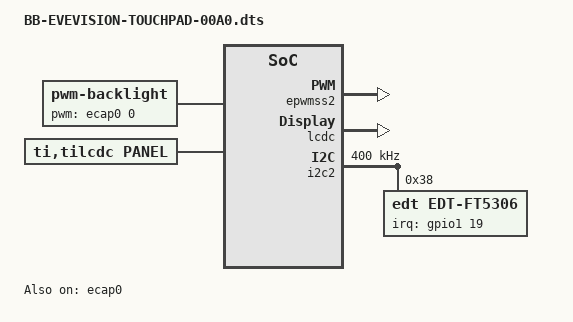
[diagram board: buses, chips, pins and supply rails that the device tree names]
/*
 * Copyright (C) 2012 Texas Instruments Incorporated - http://www.ti.com/
 *
 * This program is free software; you can redistribute it and/or modify
 * it under the terms of the GNU General Public License version 2 as
 * published by the Free Software Foundation.
 */

/dts-v1/;
/plugin/;

#include <dt-bindings/gpio/gpio.h>
#include <dt-bindings/pinctrl/am33xx.h>
#include <dt-bindings/board/am335x-bbw-bbb-base.h>

/ {
	/*
	 * Free up the pins used by the cape from the pinmux helpers.
	 */
	fragment@0 {
		target = <&ocp>;
		__overlay__ {
			P8_45_pinmux { status = "disabled"; };	/* lcd: lcd_data0 */
			P8_46_pinmux { status = "disabled"; };	/* lcd: lcd_data1 */
			P8_43_pinmux { status = "disabled"; };	/* lcd: lcd_data2 */
			P8_44_pinmux { status = "disabled"; };	/* lcd: lcd_data3 */
			P8_41_pinmux { status = "disabled"; };	/* lcd: lcd_data4 */
			P8_42_pinmux { status = "disabled"; };	/* lcd: lcd_data5 */
			P8_39_pinmux { status = "disabled"; };	/* lcd: lcd_data6 */
			P8_40_pinmux { status = "disabled"; };	/* lcd: lcd_data7 */
			P8_37_pinmux { status = "disabled"; };	/* lcd: lcd_data8 */
			P8_38_pinmux { status = "disabled"; };	/* lcd: lcd_data9 */
			P8_36_pinmux { status = "disabled"; };	/* lcd: lcd_data10 */
			P8_34_pinmux { status = "disabled"; };	/* lcd: lcd_data11 */
			P8_35_pinmux { status = "disabled"; };	/* lcd: lcd_data12 */
			P8_33_pinmux { status = "disabled"; };	/* lcd: lcd_data13 */
			P8_31_pinmux { status = "disabled"; };	/* lcd: lcd_data14 */
			P8_32_pinmux { status = "disabled"; };	/* lcd: lcd_data15 */
			P8_15_pinmux { status = "disabled"; };	/* lcd: lcd_data16 */
			P8_16_pinmux { status = "disabled"; };	/* lcd: lcd_data17 */
			P8_11_pinmux { status = "disabled"; };	/* lcd: lcd_data18 */
			P8_12_pinmux { status = "disabled"; };	/* lcd: lcd_data19 */
			P8_17_pinmux { status = "disabled"; };	/* lcd: lcd_data20 */
			P8_14_pinmux { status = "disabled"; };	/* lcd: lcd_data21 */
			P8_13_pinmux { status = "disabled"; };	/* lcd: lcd_data22 */
			P8_19_pinmux { status = "disabled"; };	/* lcd: lcd_data23 */
			P8_27_pinmux { status = "disabled"; };	/* lcd: lcd_vsync */
			P8_29_pinmux { status = "disabled"; };	/* lcd: lcd_hsync */
			P8_28_pinmux { status = "disabled"; };	/* lcd: lcd_pclk */
			P8_30_pinmux { status = "disabled"; };	/* lcd: lcd_ac_bias_en */

			P9_27_pinmux { status = "disabled"; };	/* lcd: lcd_disp */

			P9_42_pinmux { status = "disabled"; };	/* pwm: eCAP0_in_PWM2_out */

			P9_15_pinmux { status = "disabled"; };	/* touch reset: gpio1_16 */
			P9_16_pinmux { status = "disabled"; };	/* touch interrupt: gpio1_19 */
		};
	};

	fragment@1 {
		target = <&am33xx_pinmux>;
		__overlay__ {

			bb_lcd_pwm_backlight_pins: pinmux_bb_lcd_pwm_backlight_pins {
				pinctrl-single,pins = <
					BONE_P9_42 (PIN_OUTPUT_PULLUP | MUX_MODE0) /* mcasp0_ahclkr.eCAP2_in_PWM2_out */
				>;
			};

			bb_lcd_lcd_pins: pinmux_bb_lcd_lcd_pins {
				pinctrl-single,pins = <
					BONE_P8_45 (PIN_OUTPUT | MUX_MODE0) /* lcd: lcd_data0.lcd_data0 */
					BONE_P8_46 (PIN_OUTPUT | MUX_MODE0) /* lcd: lcd_data1.lcd_data1 */
					BONE_P8_43 (PIN_OUTPUT | MUX_MODE0) /* lcd: lcd_data2.lcd_data2 */
					BONE_P8_44 (PIN_OUTPUT | MUX_MODE0) /* lcd: lcd_data3.lcd_data3 */
					BONE_P8_41 (PIN_OUTPUT | MUX_MODE0) /* lcd: lcd_data4.lcd_data4 */
					BONE_P8_42 (PIN_OUTPUT | MUX_MODE0) /* lcd: lcd_data5.lcd_data5 */
					BONE_P8_39 (PIN_OUTPUT | MUX_MODE0) /* lcd: lcd_data6.lcd_data6 */
					BONE_P8_40 (PIN_OUTPUT | MUX_MODE0) /* lcd: lcd_data7.lcd_data7 */
					BONE_P8_37 (PIN_OUTPUT | MUX_MODE0) /* lcd: lcd_data8.lcd_data8 */
					BONE_P8_38 (PIN_OUTPUT | MUX_MODE0) /* lcd: lcd_data9.lcd_data9 */
					BONE_P8_36 (PIN_OUTPUT | MUX_MODE0) /* lcd: lcd_data10.lcd_data10 */
					BONE_P8_34 (PIN_OUTPUT | MUX_MODE0) /* lcd: lcd_data11.lcd_data11 */
					BONE_P8_35 (PIN_OUTPUT | MUX_MODE0) /* lcd: lcd_data12.lcd_data12 */
					BONE_P8_33 (PIN_OUTPUT | MUX_MODE0) /* lcd: lcd_data13.lcd_data13 */
					BONE_P8_31 (PIN_OUTPUT | MUX_MODE0) /* lcd: lcd_data14.lcd_data14 */
					BONE_P8_32 (PIN_OUTPUT | MUX_MODE0) /* lcd: lcd_data15.lcd_data15 */
					BONE_P8_15 (PIN_OUTPUT | MUX_MODE1) /* lcd: lcd_data16.lcd_data16 */
					BONE_P8_16 (PIN_OUTPUT | MUX_MODE1) /* lcd: lcd_data17.lcd_data17 */
					BONE_P8_11 (PIN_OUTPUT | MUX_MODE1) /* lcd: lcd_data18.lcd_data18 */
					BONE_P8_12 (PIN_OUTPUT | MUX_MODE1) /* lcd: lcd_data19.lcd_data19 */
					BONE_P8_17 (PIN_OUTPUT | MUX_MODE1) /* lcd: lcd_data20.lcd_data20 */
					BONE_P8_14 (PIN_OUTPUT | MUX_MODE1) /* lcd: lcd_data21.lcd_data21 */
					BONE_P8_13 (PIN_OUTPUT | MUX_MODE1) /* lcd: lcd_data22.lcd_data22 */
					BONE_P8_19 (PIN_OUTPUT | MUX_MODE1) /* lcd: lcd_data23.lcd_data23 */

					BONE_P8_27 (PIN_OUTPUT | MUX_MODE0) /* lcd: lcd_vsync.lcd_vsync */
					BONE_P8_29 (PIN_OUTPUT | MUX_MODE0) /* lcd: lcd_hsync.lcd_hsync */
					BONE_P8_28 (PIN_OUTPUT | MUX_MODE0) /* lcd: lcd_pclk.lcd_pclk */
					BONE_P8_30 (PIN_OUTPUT | MUX_MODE0) /* lcd: lcd_ac_bias_en.lcd_ac_bias_en */
					BONE_P9_27 (PIN_INPUT_PULLDOWN | MUX_MODE7) /* lcd: lcd disp */
				>;
			};

			touch_reset_intr_pins: pinmux_touch_reset_intr_pins {
				pinctrl-single,pins = <
					BONE_P9_15 (PIN_INPUT_PULLDOWN | MUX_MODE7) /* */
					BONE_P9_16 (PIN_INPUT_PULLDOWN | MUX_MODE7) /* */
				>;
			};
		};
	};

	fragment@2 {
		target = <&epwmss2>;
		__overlay__ {
			status = "okay";
		};
	};

	fragment@3 {
		target = <&ecap0>;
		__overlay__ {
			pinctrl-names = "default";
			pinctrl-0 = <&bb_lcd_pwm_backlight_pins>;
			status = "okay";
		};
	};

	fragment@4 {
		target = <&lcdc>;
		__overlay__ {
			status = "okay";
			blue-and-red-wiring = "crossed";
		};
	};

	fragment@5 {
		target = <&i2c2>;
		__overlay__ {
			status = "okay";

			/* this is the configuration part */
			clock-frequency = <400000>;

			#address-cells = <1>;
			#size-cells = <0>;

			edt-ft5306@38 {
				status = "okay";
				compatible = "edt,edt-ft5306", "edt,edt-ft5x06";
				pinctrl-names = "default";
				pinctrl-0 = <&touch_reset_intr_pins>;

				reg = <0x38>;
				interrupt-parent = <&gpio1>;
				interrupts = <19 8>;
				/* reset-gpios = <&gpio1 16 GPIO_ACTIVE_LOW>; */

				touchscreen-size-x = <480>;
				touchscreen-size-y = <272>;
				/*
				touchscreen-inverted-x;
				touchscreen-inverted-y;
				touchscreen-swapped-x-y;
				*/
			};
		};
	};

	fragment@6 {
		target-path="/";
		__overlay__ {
			backlight {
				status = "okay";
				compatible = "pwm-backlight";
				pwms = <&ecap0 0 500000 0>;
				brightness-levels = <
					0  1  2  3  4  5  6  7  8  9
					10 11 12 13 14 15 16 17 18 19
					20 21 22 23 24 25 26 27 28 29
					30 31 32 33 34 35 36 37 38 39
					40 41 42 43 44 45 46 47 48 49
					50 51 52 53 54 55 56 57 58 59
					60 61 62 63 64 65 66 67 68 69
					70 71 72 73 74 75 76 77 78 79
					80 81 82 83 84 85 86 87 88 89
					90 91 92 93 94 95 96 97 98 99
					100
				>;
				default-brightness-level = <50>;
			};

			panel {
				status = "okay";
				compatible = "ti,tilcdc,panel";
				pinctrl-names = "default";
				/* enable-gpios = <&gpio1 29 GPIO_ACTIVE_HIGH>; */
				pinctrl-0 = <&bb_lcd_lcd_pins>;
				panel-info {
					ac-bias           = <255>;
					ac-bias-intrpt    = <0>;
					dma-burst-sz      = <16>;
					bpp               = <24>;
					fdd               = <0x80>;
					tft-alt-mode      = <0>;
					stn-565-mode      = <0>;
					mono-8bit-mode    = <0>;
					sync-edge         = <0>;
					sync-ctrl         = <1>;
					raster-order      = <0>;
					fifo-th           = <0>;
				};
				/* ILI6480 */
				display-timings {
					native-mode = <&timing0>;
					timing0: 480x272 {
						clock-frequency = <9000000>;
						hactive = <480>;
						vactive = <272>;
						hfront-porch = <3>;
						hback-porch = <30>;
						hsync-len = <12>;
						vback-porch = <0>;
						vfront-porch = <4>;
						vsync-len = <12>;
						//de-active = <1>;
						//hsync-active = <0>;
						//vsync-active  = <0>;
					};
				};
			};
		};
	};
};
